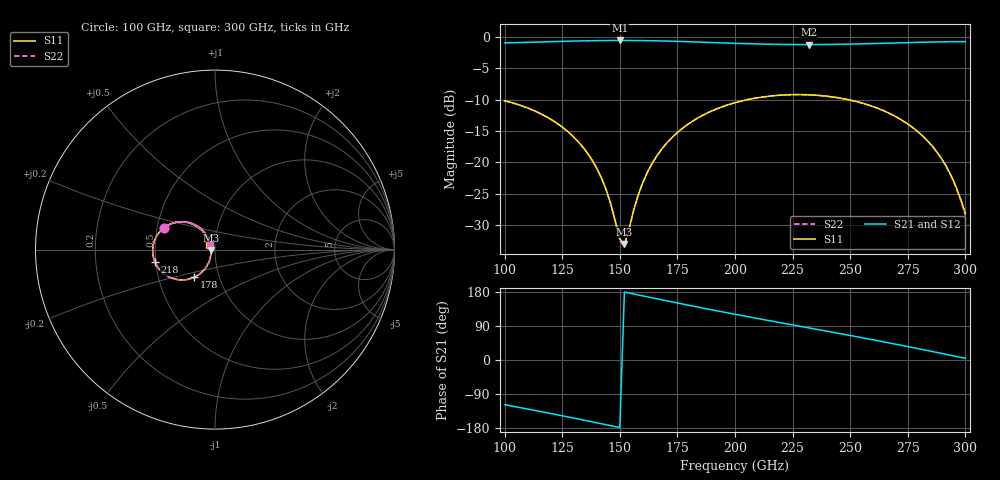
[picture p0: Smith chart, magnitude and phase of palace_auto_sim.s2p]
#  GHZ S DB R 50
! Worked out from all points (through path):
!   101 points, 100 GHz to 300 GHz, reference 50 ohm
!   highest |S21| = -0.53 dB at 150 GHz (marker M1); lowest = -1.2 dB at 232 GHz (marker M2)
!   group delay of S21, straight-line fit = 3.28 ps
!   lowest |S11| = -33.1 dB at 152 GHz (marker M3), VSWR 1.05, Z = 47.9 - j0.47 ohm
!   |S11| at or under -10 dB: start of sweep to 205.4 GHz; 249.2 GHz to end of sweep
!   |S22| runs from -33.4 to -9.2 dB; largest |S21 - S12| = 1.1e-14
!   S11 on the Smith chart (normalised r, x): 100 GHz: 0.54, +0.14; 178 GHz: 0.76, -0.24; 218 GHz: 0.49, -0.08; 300 GHz: 0.94, +0.04
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100  -10.17 157.2  -0.92 -117.9  -0.92 -117.9  -10.17 157.2
120  -13.13 135.9  -0.73 -141.2  -0.73 -141.2  -13.13 135.8
134  -17.60 123.0  -0.60 -158.2  -0.60 -158.2  -17.60 122.7
140  -20.97 120.2  -0.56 -165.7  -0.56 -165.7  -20.98 119.8
144  -24.31 122.1  -0.54 -170.7  -0.54 -170.7  -24.35 121.5
150  -32.27 157.0  -0.53 -178.2  -0.53 -178.2  -32.54 156.1
152  -33.09 -167.2  -0.53 179.3  -0.53 179.3  -33.42 -166.7
156  -27.68 -125.4  -0.54 174.2  -0.54 174.2  -27.78 -124.3
160  -23.22 -116.9  -0.55 169.2  -0.55 169.2  -23.26 -116.2
168  -18.00 -118.3  -0.61 159.1  -0.61 159.1  -18.01 -117.8
178  -14.34 -126.9  -0.71 146.8  -0.71 146.8  -14.35 -126.5
188  -12.12 -137.1  -0.84 134.8  -0.84 134.8  -12.12 -136.8
200  -10.48 -149.7  -0.99 120.7  -0.99 120.7  -10.48 -149.4
218  -9.33 -168.5  -1.15 100.4  -1.15 100.4  -9.33 -168.3
232  -9.22 177.1  -1.19 84.8  -1.19 84.8  -9.22 177.2
234  -9.26 175.0  -1.19 82.6  -1.19 82.6  -9.26 175.1
252  -10.23 156.4  -1.10 62.4  -1.10 62.4  -10.24 156.5
268  -12.36 140.2  -0.95 43.8  -0.95 43.8  -12.37 140.2
280  -15.31 129.1  -0.83 29.3  -0.83 29.3  -15.33 128.9
288  -18.53 124.0  -0.76 19.5  -0.76 19.5  -18.57 123.5
294  -22.28 124.8  -0.73 12.0  -0.73 12.0  -22.36 123.9
300  -28.18 143.4  -0.72 4.4  -0.72 4.4  -28.50 141.8
